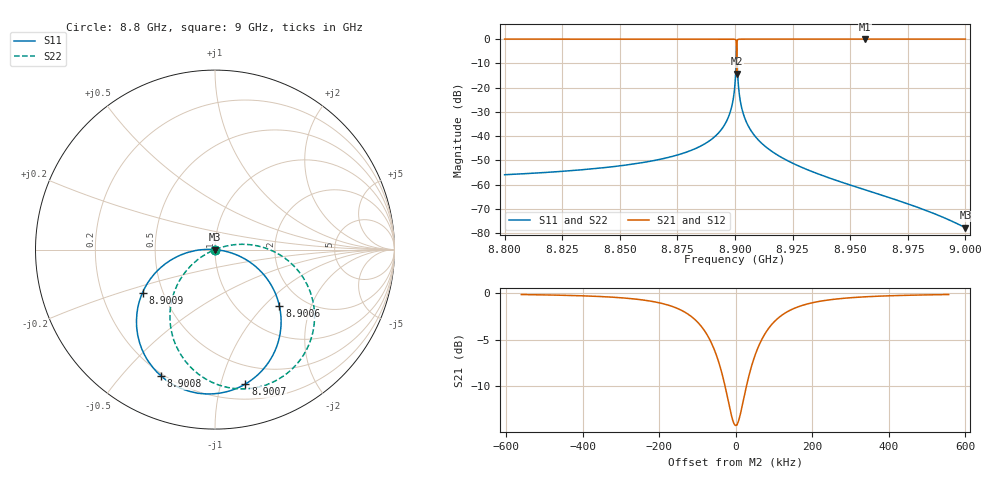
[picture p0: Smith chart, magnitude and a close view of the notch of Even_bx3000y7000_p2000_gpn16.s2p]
! Sonnet Data File
! From: emgraph Version : 16.52
! From Project: Resonator2_cp_cp
! Data is De-embedded
! Data File Written: 10/06/2017 09:20:30
!< HDATE 10/05/2017 21:11:40
!< MDATE 10/05/2017 21:11:40
!< PARAMS
!< gap = 16.0
!< Length = 400.0
!< Pwid1 = 2000.0
!< Pwid2 = 2000.0
!< END PARAMS
# GHZ S MA R 51.80000
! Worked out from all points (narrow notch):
!   1595 points, 8.8 GHz to 9 GHz, reference 51.8 ohm
!   highest |S21| = 0.00 dB at 8.9564 GHz (marker M1); lowest = -14.2 dB at 8.9007 GHz (marker M2)
!   notch at M2: 14.2 dB deep, 93.8 kHz wide at half that depth
!   lowest |S11| = -77.7 dB at 9 GHz (marker M3), VSWR 1.00, Z = 51.8 + j0.00907 ohm
!   |S11| at or under -10 dB: start of sweep to 8.9005 GHz; 8.901 GHz to end of sweep
!   |S22| runs from -77.9 to -1.9 dB; largest |S21 - S12| = 0
!   S11 on the Smith chart (normalised r, x): 8.8 GHz: 1.00, -0.00; 8.9006 GHz: 1.51, -1.24; 8.9007 GHz: 0.33, -1.20; 8.9008 GHz: 0.19, -0.64; 8.9009 GHz: 0.38, -0.24; 9 GHz: 1.00, +0.00
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8.8  0.001605 -1.2  1 -80.6  1 -80.6  0.001606 20.2
!< P1 F=8.8 Eeff=(6.44679989 -2.9721e-5) Z0=(51.7992624 1.19519e-4) R=0.0 C=0.0
!< P2 F=8.8 Eeff=(6.44679989 -2.9721e-5) Z0=(51.7992624 1.19519e-4) R=0.0 C=0.0
8.8334  0.002028 -2.2  1 -80.9  1 -80.9  0.002029 20.5
8.8668  0.003282 -3.5  1 -81.3  1 -81.3  0.003283 20.9
8.8922  0.01082 -5.2  0.9999 -82.0  0.9999 -82.0  0.01082 21.0
8.897598  0.02823 -6.7  0.9994 -83.0  0.9994 -83.0  0.02823 20.0
8.898984  0.05015 -8.4  0.9981 -84.3  0.9981 -84.3  0.05015 18.5
8.9  0.1192 -13.4  0.9895 -88.2  0.9895 -88.2  0.1192 13.6
8.9004  0.258 -23.6  0.9495 -96.3  0.9495 -96.3  0.258 3.5
8.900571  0.4779 -41.3  0.8135 -109.6  0.8135 -109.6  0.4779 -14.2
8.900682  0.7677 -77.2  0.3559 -122.4  0.3559 -122.4  0.7677 -50.2
8.900715  0.8058 -94.8  0.1942 -82.1  0.1942 -82.1  0.8058 -67.7
8.900751  0.7654 -113.1  0.3626 -40.2  0.3626 -40.2  0.7655 -86.1
8.900864  0.4696 -149.3  0.8203 -53.7  0.8203 -53.7  0.4696 -122.2
8.901031  0.2567 -166.4  0.9498 -66.6  0.9498 -66.6  0.2567 -139.3
8.901407  0.1217 -176.3  0.9889 -74.4  0.9889 -74.4  0.1217 -149.1
8.902423  0.04936 178.5  0.9982 -78.6  0.9982 -78.6  0.04936 -154.3
8.906612  0.01378 175.7  0.9999 -80.7  0.9999 -80.7  0.01378 -156.6
8.91601  0.004848 174.3  1 -81.3  1 -81.3  0.004848 -156.8
8.9334  0.001867 172.5  1 -81.6  1 -81.6  0.001866 -155.7
8.9564  0.0007858 168.9  1 -81.9  1 -81.9  0.0007844 -152.9
8.9668  0.000545 166.3  1 -82.0  1 -82.0  0.0005434 -150.6
9  0.0001303 137.8  1 -82.3  1 -82.3  0.0001271 -123.6
